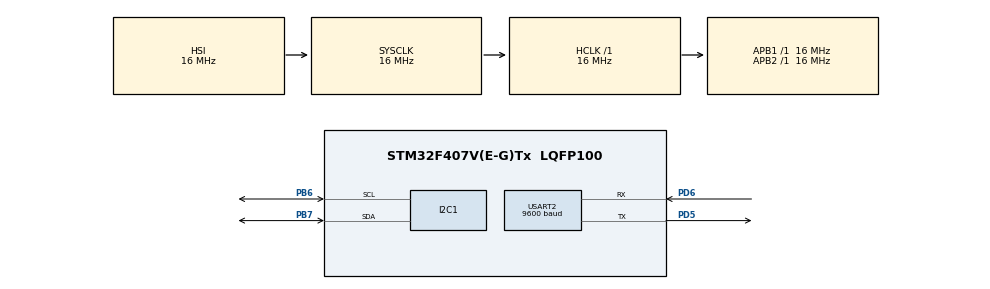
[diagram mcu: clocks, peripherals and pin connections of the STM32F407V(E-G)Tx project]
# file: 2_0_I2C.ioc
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Mcu.Family=STM32F4
Mcu.Name=STM32F407V(E-G)Tx
Mcu.Package=LQFP100
NVIC.PriorityGroup=NVIC_PRIORITYGROUP_4
PB6.Mode=I2C
PB6.Signal=I2C1_SCL
PB7.Mode=I2C
PB7.Signal=I2C1_SDA
PD5.Mode=Asynchronous
PD5.Signal=USART2_TX
PD6.Mode=Asynchronous
PD6.Signal=USART2_RX
ProjectManager.HeapSize=0x200
ProjectManager.StackSize=0x400
ProjectManager.TargetToolchain=STM32CubeIDE
RCC.AHBFreq_Value=16000000
RCC.APB1Freq_Value=16000000
RCC.APB2Freq_Value=16000000
RCC.CortexFreq_Value=16000000
RCC.HSE_VALUE=25000000
RCC.HSI_VALUE=16000000
RCC.LSE_VALUE=32768
RCC.SYSCLKFreq_VALUE=16000000
RCC.VCOOutputFreq_Value=192000000
USART2.BaudRate=9600
USART2.VirtualMode=VM_ASYNC
board=custom

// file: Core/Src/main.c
/* USER CODE BEGIN Header */
/**
  ******************************************************************************
  * @file           : main.c
  * @brief          : Main program body
  ******************************************************************************
  * @attention
  *
  * Copyright (c) 2024 STMicroelectronics.
  * All rights reserved.
  *
  * This software is licensed under terms that can be found in the LICENSE file
  * in the root directory of this software component.
  * If no LICENSE file comes with this software, it is provided AS-IS.
  *
  ******************************************************************************
  */
/* USER CODE END Header */
#include "main.h"

/* USER CODE BEGIN PD */
#define DS1307_ADDRESS 0x68 << 1  // DS1307 I2C address (shifted)
/* USER CODE END PD */

I2C_HandleTypeDef hi2c1;

UART_HandleTypeDef huart2;

/* USER CODE BEGIN PV */
uint8_t TX_Buffer [1] ; // DATA to send
uint8_t RX_Buffer [1] ; // DATA to receive
/* USER CODE END PV */

void SystemClock_Config(void);
static void MX_GPIO_Init(void);
static void MX_I2C1_Init(void);
static void MX_USART2_UART_Init(void);

int main(void)
{

  /* MCU Configuration--------------------------------------------------------*/

  /* Reset of all peripherals, Initializes the Flash interface and the Systick. */
  HAL_Init();

  /* Configure the system clock */
  SystemClock_Config();

  /* Initialize all configured peripherals */
  MX_GPIO_Init();
  MX_I2C1_Init();
  MX_USART2_UART_Init();
  /* USER CODE BEGIN 2 */

  /* DS1307 Registers Initialization
    //year
    TX_Buffer [0] = 0x24 ;
    HAL_I2C_Mem_Write(&hi2c1, DS1307_ADDRESS, 0x06, 1, TX_Buffer, 1, 1000);

    //month
    TX_Buffer [0] = 0x10 ;
    HAL_I2C_Mem_Write(&hi2c1, DS1307_ADDRESS, 0x05, 1, TX_Buffer, 1, 1000);

    //date
    TX_Buffer [0] = 0x16 ;
    HAL_I2C_Mem_Write(&hi2c1, DS1307_ADDRESS, 0x04, 1, TX_Buffer, 1, 1000);

    //day
    TX_Buffer [0] = 0x3 ;
    HAL_I2C_Mem_Write(&hi2c1, DS1307_ADDRESS, 0x03, 1, TX_Buffer, 1, 1000);

    //hour
    TX_Buffer [0] = 0x13 ;
    HAL_I2C_Mem_Write(&hi2c1, DS1307_ADDRESS, 0x02, 1, TX_Buffer, 1, 1000);

    //minute
    TX_Buffer [0] = 0x20 ;
    HAL_I2C_Mem_Write(&hi2c1, DS1307_ADDRESS, 0x01, 1, TX_Buffer, 1, 1000);
  //
    //second
    TX_Buffer [0] = 0x40 ;
    HAL_I2C_Mem_Write(&hi2c1, DS1307_ADDRESS, 0x00, 1, TX_Buffer, 1, 1000);
*/

  /* USER CODE END 2 */

  /* Infinite loop */
  /* USER CODE BEGIN WHILE */
  while (1)
  {

	  /* DS1307 Register reading
	   * sending on UART */

	    // last register  +00000011+
	  	HAL_I2C_Mem_Read(&hi2c1, DS1307_ADDRESS, 0x07, 1, RX_Buffer, 1, 1000);
	  	HAL_UART_Transmit(&huart2, RX_Buffer, 1, 5000);

	  	// year
	   	HAL_I2C_Mem_Read(&hi2c1, DS1307_ADDRESS, 0x06, 1, RX_Buffer, 1, 1000);
	  	HAL_UART_Transmit(&huart2, RX_Buffer, 1, 5000);

	    // month
	  	HAL_I2C_Mem_Read(&hi2c1, DS1307_ADDRESS, 0x05, 1, RX_Buffer, 1, 1000);
	  	HAL_UART_Transmit(&huart2, RX_Buffer, 1, 5000);

	  	// date
	  	HAL_I2C_Mem_Read(&hi2c1, DS1307_ADDRESS, 0x04, 1, RX_Buffer, 1, 1000);
	  	HAL_UART_Transmit(&huart2, RX_Buffer, 1, 5000);

	  	// day of week  +7+
	   	HAL_I2C_Mem_Read(&hi2c1, DS1307_ADDRESS, 0x03, 1, RX_Buffer, 1, 1000);
	  	HAL_UART_Transmit(&huart2, RX_Buffer, 1, 5000);

	  	// hour
	  	HAL_I2C_Mem_Read(&hi2c1, DS1307_ADDRESS, 0x02, 1, RX_Buffer, 1, 1000);
	  	HAL_UART_Transmit(&huart2, RX_Buffer, 1, 5000);

	  	// minute
	  	HAL_I2C_Mem_Read(&hi2c1, DS1307_ADDRESS, 0x01, 1, RX_Buffer, 1, 1000);
	  	HAL_UART_Transmit(&huart2, RX_Buffer, 1, 5000);

	  	// second
	  	HAL_I2C_Mem_Read(&hi2c1, DS1307_ADDRESS, 0x00, 1, RX_Buffer, 1, 1000);
	  	HAL_UART_Transmit(&huart2, RX_Buffer, 1, 5000);

	  	HAL_Delay(3000);

    /* USER CODE END WHILE */

  }
}

void SystemClock_Config(void)
{
  RCC_OscInitTypeDef RCC_OscInitStruct = {0};
  RCC_ClkInitTypeDef RCC_ClkInitStruct = {0};

  /** Configure the main internal regulator output voltage
  */
  __HAL_RCC_PWR_CLK_ENABLE();
  __HAL_PWR_VOLTAGESCALING_CONFIG(PWR_REGULATOR_VOLTAGE_SCALE1);

  /** Initializes the RCC Oscillators according to the specified parameters
  * in the RCC_OscInitTypeDef structure.
  */
  RCC_OscInitStruct.OscillatorType = RCC_OSCILLATORTYPE_HSI;
  RCC_OscInitStruct.HSIState = RCC_HSI_ON;
  RCC_OscInitStruct.HSICalibrationValue = RCC_HSICALIBRATION_DEFAULT;
  RCC_OscInitStruct.PLL.PLLState = RCC_PLL_NONE;
  if (HAL_RCC_OscConfig(&RCC_OscInitStruct) != HAL_OK)
  {
    Error_Handler();
  }

  /** Initializes the CPU, AHB and APB buses clocks
  */
  RCC_ClkInitStruct.ClockType = RCC_CLOCKTYPE_HCLK|RCC_CLOCKTYPE_SYSCLK
                              |RCC_CLOCKTYPE_PCLK1|RCC_CLOCKTYPE_PCLK2;
  RCC_ClkInitStruct.SYSCLKSource = RCC_SYSCLKSOURCE_HSI;
  RCC_ClkInitStruct.AHBCLKDivider = RCC_SYSCLK_DIV1;
  RCC_ClkInitStruct.APB1CLKDivider = RCC_HCLK_DIV1;
  RCC_ClkInitStruct.APB2CLKDivider = RCC_HCLK_DIV1;

  if (HAL_RCC_ClockConfig(&RCC_ClkInitStruct, FLASH_LATENCY_0) != HAL_OK)
  {
    Error_Handler();
  }
}

static void MX_I2C1_Init(void)
{

  hi2c1.Instance = I2C1;
  hi2c1.Init.ClockSpeed = 100000;
  hi2c1.Init.DutyCycle = I2C_DUTYCYCLE_2;
  hi2c1.Init.OwnAddress1 = 0;
  hi2c1.Init.AddressingMode = I2C_ADDRESSINGMODE_7BIT;
  hi2c1.Init.DualAddressMode = I2C_DUALADDRESS_DISABLE;
  hi2c1.Init.OwnAddress2 = 0;
  hi2c1.Init.GeneralCallMode = I2C_GENERALCALL_DISABLE;
  hi2c1.Init.NoStretchMode = I2C_NOSTRETCH_DISABLE;
  if (HAL_I2C_Init(&hi2c1) != HAL_OK)
  {
    Error_Handler();
  }

}

static void MX_USART2_UART_Init(void)
{

  huart2.Instance = USART2;
  huart2.Init.BaudRate = 9600;
  huart2.Init.WordLength = UART_WORDLENGTH_8B;
  huart2.Init.StopBits = UART_STOPBITS_1;
  huart2.Init.Parity = UART_PARITY_NONE;
  huart2.Init.Mode = UART_MODE_TX_RX;
  huart2.Init.HwFlowCtl = UART_HWCONTROL_NONE;
  huart2.Init.OverSampling = UART_OVERSAMPLING_16;
  if (HAL_UART_Init(&huart2) != HAL_OK)
  {
    Error_Handler();
  }

}

static void MX_GPIO_Init(void)
{

  /* GPIO Ports Clock Enable */
  __HAL_RCC_GPIOD_CLK_ENABLE();
  __HAL_RCC_GPIOB_CLK_ENABLE();

}

void Error_Handler(void)
{
  __disable_irq();
  while (1)
  {
  }
}
